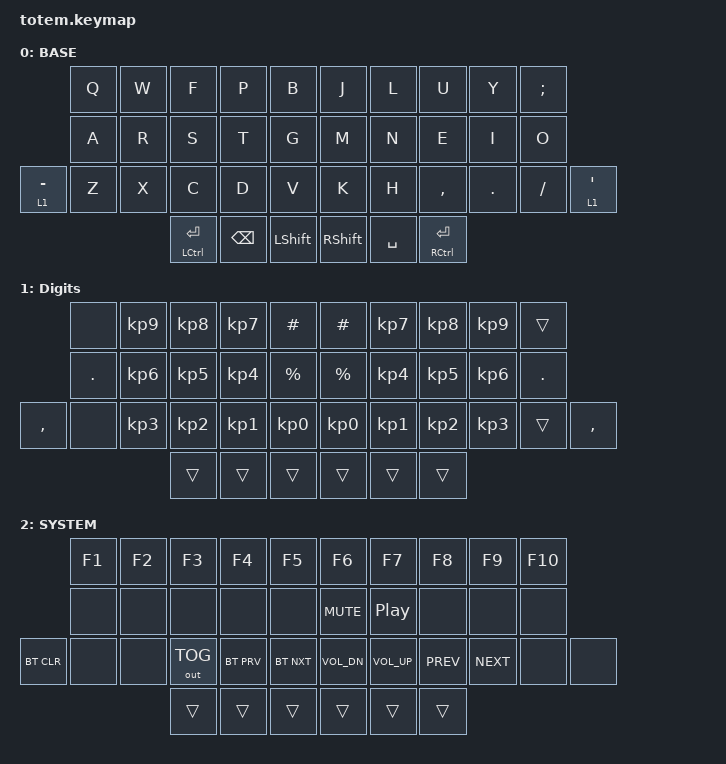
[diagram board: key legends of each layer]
//
//                                                        ▀▀▀▀▀     ▀▀▀▀▀          ▀▀█▀▀
//                                                        ▄▀▀▀▄  ▄  ▄▀▀▀▄  ▄  ▄▀▀▀▄  █  ▄▀▀▀▄
//                                                        █   █  █  █   █  █  █   █  █  █   █
//                                                         ▀▀▀   █   ▀▀▀   █   ▀▀▀   ▀   ▀▀▀
//                                                               █      ▄▄▄█▄▄▄    █   █
//                                                               ▀      █  █  █     █▄█
//                                                             ▀▀▀▀▀    █  █  █      ▀
//                                                                      ▀  ▀  ▀
//
// ▄▄▄▄▄▄▄▄▄▄▄▄▄▄▄▄▄▄▄▄▄▄▄▄▄▄▄▄▄▄▄▄▄▄▄▄▄▄▄▄▄▄▄▄▄▄▄▄▄▄▄▄▄▄▄▄▄▄▄▄▄▄▄▄▄▄▄▄▄▄▄▄▄▄▄▄▄▄▄▄▄▄▄▄▄▄▄▄▄▄▄▄▄▄▄▄▄▄▄▄▄▄▄▄▄▄▄▄▄▄▄▄▄▄▄▄▄▄▄▄▄▄▄▄▄▄▄▄▄▄▄▄▄▄▄▄▄▄▄▄▄▄▄▄▄▄▄▄▄

#include "zmk-helpers/helper.h"
#include "zmk-helpers/key-labels/totem.h"
#include <behaviors.dtsi>
#include <dt-bindings/zmk/bt.h>
#include <dt-bindings/zmk/keys.h>
#include <dt-bindings/zmk/outputs.h>
#include <dt-bindings/zmk/pointing.h>

#define BASE 0
#define NAV  1
#define DIG  2
#define SYS  3
#define QUICK_TAP_MS 175

/* Timeless homerow mods */
// https://github.com/urob/zmk-config/tree/main#timeless-homerow-mods

#define KEYS_L LT0 LT1 LT2 LT3 LT4 LM0 LM1 LM2 LM3 LM4 LB0 LB1 LB2 LB3 LB4 LB5  // left hand
#define KEYS_R RT0 RT1 RT2 RT3 RT4 RM0 RM1 RM2 RM3 RM4 RB0 RB1 RB2 RB3 RB4 RB5  // right hand
#define THUMBS LH2 LH1 LH0 RH0 RH1 RH2 // thumb cluster for both hands

// proper urob's home row, uncomment it if you are not going to use visual editor
//#define MAKE_HRM(NAME, HOLD, TAP, TRIGGER_POS) \
//    ZMK_HOLD_TAP(NAME, \
//        flavor = "balanced"; \
//        tapping-term-ms = <280>; \
//        quick-tap-ms = <QUICK_TAP_MS>; \
//        require-prior-idle-ms = <150>; \
//        bindings = <HOLD>, <TAP>; \
//        hold-trigger-key-positions = <TRIGGER_POS>; \
//        hold-trigger-on-release; \
//    )
//
//MAKE_HRM(hml, &kp, &kp, KEYS_R THUMBS)  // left-hand HRMs
//MAKE_HRM(hmr, &kp, &kp, KEYS_L THUMBS)  // right-hand HRMs
//MAKE_HRM(hml_layer, &mo, &kp, KEYS_R THUMBS) // switch layer like HRM

&mt {
    bindings = <&kp>, <&kp>;

    flavor = "tap-preferred";
    quick-tap-ms = <230>;
    require-prior-idle-ms = <50>;
    tapping-term-ms = <230>;
    hold-trigger-on-release;
};

/ {
    combos {
        compatible = "zmk,combos";

        altL {
            bindings = <&kp LEFT_ALT>;
            key-positions = <21 22>;
        };

        altR {
            bindings = <&kp RIGHT_ALT>;
            key-positions = <30 29>;
        };

        bkspR {
            bindings = <&kp BACKSPACE>;
            key-positions = <6 7>;
        };

        capsLock {
            bindings = <&kp CAPSLOCK>;
            key-positions = <7 6 8>;
        };

        capsWord {
            bindings = <&caps_word>;
            key-positions = <2 3 1>;
        };

        ctrSlashL {
            bindings = <&kp LC(SLASH)>;
            key-positions = <25 24>;
        };

        delL {
            bindings = <&kp DELETE>;
            key-positions = <10 11>;
        };

        delR {
            bindings = <&kp DEL>;
            key-positions = <7 8>;
        };

        esc {
            bindings = <&kp ESC>;
            key-positions = <2 1>;
        };

        spaceL {
            bindings = <&kp SPACE>;
            key-positions = <14 13>;
        };

        tab {
            bindings = <&kp TAB>;
            key-positions = <3 2>;
        };

        winL {
            bindings = <&kp LEFT_GUI>;
            key-positions = <1 0>;
        };

        winR {
            bindings = <&kp RIGHT_GUI>;
            key-positions = <8 9>;
        };

        zs_Ampersand {
            bindings = <&kp AMPERSAND>;
            key-positions = <10 14>;
        };

        zs_Asterisk {
            bindings = <&kp ASTERISK>;
            key-positions = <15 16>;
        };

        zs_At {
            bindings = <&kp AT_SIGN>;
            key-positions = <21 24>;
        };

        zs_BackSlash {
            bindings = <&kp BACKSLASH>;
            key-positions = <9 7>;
        };

        zs_BackTick {
            bindings = <&kp GRAVE>;
            key-positions = <0 2>;
        };

        zs_BraceClose {
            bindings = <&kp RIGHT_BRACE>;
            key-positions = <9 5>;
        };

        zs_BraceOpen {
            bindings = <&kp LEFT_BRACE>;
            key-positions = <9 6>;
        };

        zs_BracketClose {
            bindings = <&kp RIGHT_BRACKET>;
            key-positions = <30 26>;
        };

        zs_BracketOpen {
            bindings = <&kp LEFT_BRACKET>;
            key-positions = <30 27>;
        };

        zs_Caret {
            bindings = <&kp CARET>;
            key-positions = <4 0>;
        };

        zs_Dollar {
            bindings = <&kp DOLLAR>;
            key-positions = <19 18>;
        };

        zs_EqualPlus {
            bindings = <&kp EQUAL>;
            key-positions = <10 13>;
        };

        zs_Exclamation {
            bindings = <&kp EXCLAMATION>;
            key-positions = <3 0>;
        };

        zs_MinusUnderscore {
            bindings = <&kp MINUS>;
            key-positions = <26 27>;
        };

        zs_ParenthesisClose {
            bindings = <&kp RIGHT_PARENTHESIS>;
            key-positions = <19 15>;
        };

        zs_ParenthesisOpen {
            bindings = <&kp LEFT_PARENTHESIS>;
            key-positions = <16 19>;
        };

        zs_Pipe {
            bindings = <&kp PIPE>;
            key-positions = <8 6>;
        };

        zs_Plus {
            bindings = <&kp PLUS>;
            key-positions = <5 6>;
        };

        zs_Tilde {
            bindings = <&kp TILDE>;
            key-positions = <3 1>;
        };

        zz__ArwDwn {
            bindings = <&kp DOWN_ARROW>;
            key-positions = <17 18>;
        };

        zz__ArwLft {
            bindings = <&kp LEFT_ARROW>;
            key-positions = <12 11>;
        };

        zz__ArwRgt {
            bindings = <&kp RIGHT_ARROW>;
            key-positions = <13 12>;
        };

        zz__ArwUp {
            bindings = <&kp UP_ARROW>;
            key-positions = <17 16>;
        };

        zz__End {
            bindings = <&kp END>;
            key-positions = <13 11>;
        };

        zz__Home {
            bindings = <&kp HOME>;
            key-positions = <12 10>;
        };

        zz_CtrArwLft {
            bindings = <&kp LC(LEFT_ARROW)>;
            key-positions = <16 18>;
        };

        zz_CtrArwRgt {
            bindings = <&kp LC(RIGHT_ARROW)>;
            key-positions = <19 17>;
        };

        zzz_mouseBtn1 {
            bindings = <&mkp MB1>;
            key-positions = <24 22>;
        };

        zzz_mouseBtn2 {
            bindings = <&mkp MB2>;
            key-positions = <23 21>;
        };

        zzz_mouseMovDwn {
            bindings = <&mmv MOVE_DOWN>;
            key-positions = <28 29>;
        };

        zzz_mouseMovLft {
            bindings = <&mmv MOVE_LEFT>;
            key-positions = <23 22>;
        };

        zzz_mouseMovRgt {
            bindings = <&mmv MOVE_RIGHT>;
            key-positions = <23 24>;
        };

        zzz_mouseMovUp {
            bindings = <&mmv MOVE_UP>;
            key-positions = <27 28>;
        };

        zzz_mouseScrlDwn {
            bindings = <&msc SCRL_DOWN>;
            key-positions = <30 28>;
        };

        zzz_mouseScrlUp {
            bindings = <&msc SCRL_UP>;
            key-positions = <27 29>;
        };

        zzzz_toLr0_ColemakdhL {
            bindings = <&to 0>;
            key-positions = <20 0>;
            layers = <1 2>;
        };

        zzzz_toLr0_ColemakdhR {
            bindings = <&to 0>;
            key-positions = <31 9>;
            layers = <1 2>;
        };

        zzzz_toLr1_DigiSymbL {
            bindings = <&to 1>;
            key-positions = <20 10>;
            layers = <0>;
        };

        zzzz_toLr1_DigiSymbR {
            bindings = <&to 1>;
            key-positions = <31 19>;
            layers = <0>;
        };

        zzzz_toLr2_SysL_Ttm {
            bindings = <&to 2>;
            key-positions = <20 21>;
        };

        zzzz_toLr2_SysR_Ttm {
            bindings = <&to 2>;
            key-positions = <30 31>;
        };
    };

    macros {
        /**
         * Temporarily switches to a layer (`&mo`) while a modifier is held.
         * Analogous to QMK's `LM()`, using a parameterized macro.
         *
         * Params:
         *  1. Layer to switch to
         *  2. Modifier to press while layer is active
         *
         * Example:
         *  `&lm NUM_LAYER LSHIFT`
         */
    };

    behaviors {
        // this is homerow mod that works identical to urob's one, but this one allows visual editor to understand

        ctrL_enter: ctrL_enter {
            compatible = "zmk,behavior-hold-tap";
            label = "CTRL_ENTER";
            bindings = <&kp>, <&kp>;

            #binding-cells = <2>;
            tapping-term-ms = <280>;
            hold-trigger-key-positions = <KEYS_R THUMBS>;
            hold-trigger-on-release;
        };

        ctrR_enter: ctrR_enter {
            compatible = "zmk,behavior-hold-tap";
            label = "CTRR_ENTER";
            bindings = <&kp>, <&kp>;

            #binding-cells = <2>;
            tapping-term-ms = <280>;
            hold-trigger-key-positions = <KEYS_L THUMBS>;
            hold-trigger-on-release;
        };

        mod_toLr: mod_toLr {
            compatible = "zmk,behavior-hold-tap";
            label = "MOD_TOLR";
            bindings = <&kp>, <&to>;

            #binding-cells = <2>;
            tapping-term-ms = <200>;
        };

        moLr_kp: moLr_kp {
            compatible = "zmk,behavior-hold-tap";
            label = "MOLR_KP";
            bindings = <&mo>, <&kp>;

            #binding-cells = <2>;
            tapping-term-ms = <400>;
            flavor = "tap-preferred";
        };
    };

    keymap {
        compatible = "zmk,keymap";

        colemakDH {
            label = "BASE";
            bindings = <
                  &kp Q  &kp W  &kp F                    &kp P          &kp B             &kp J       &kp L      &kp U                    &kp Y    &kp SEMI
                  &kp A  &kp R  &kp S                    &kp T          &kp G             &kp M       &kp N      &kp E                    &kp I    &kp O
&moLr_kp 1 MINUS  &kp Z  &kp X  &kp C                    &kp D          &kp V             &kp K       &kp H      &kp COMMA                &kp DOT  &kp SLASH  &moLr_kp 1 APOSTROPHE
                                &ctrL_enter LCTRL ENTER  &kp BACKSPACE  &kp LEFT_SHIFT    &kp RSHIFT  &kp SPACE  &ctrR_enter RCTRL ENTER
            >;
        };

        digits {
            label = "Digits";
            bindings = <
           &none       &kp KP_N9  &kp KP_N8  &kp KP_N7  &kp HASH       &kp HASH         &kp KP_NUMBER_7  &kp KP_NUMBER_8  &kp KP_NUMBER_9  &trans
           &kp PERIOD  &kp KP_N6  &kp KP_N5  &kp KP_N4  &kp PERCENT    &kp PERCENT      &kp KP_NUMBER_4  &kp KP_NUMBER_5  &kp KP_NUMBER_6  &kp PERIOD
&kp COMMA  &none       &kp KP_N3  &kp KP_N2  &kp KP_N1  &kp KP_N0      &kp KP_NUMBER_0  &kp KP_NUMBER_1  &kp KP_NUMBER_2  &kp KP_NUMBER_3  &trans      &kp COMMA
                                  &trans     &trans     &trans         &trans           &trans           &trans
            >;
        };

        system {
            label = "SYSTEM";
            bindings = <
            &kp F1  &kp F2  &kp F3        &kp F4      &kp F5        &kp F6        &kp F7        &kp F8      &kp F9      &kp F10
            &none   &none   &none         &none       &none         &kp C_MUTE    &kp C_PP      &none       &none       &none
&bt BT_CLR  &none   &none   &out OUT_TOG  &bt BT_PRV  &bt BT_NXT    &kp C_VOL_DN  &kp C_VOL_UP  &kp C_PREV  &kp C_NEXT  &none    &none
                            &trans        &trans      &trans        &trans        &trans        &trans
            >;
        };
    };
};
